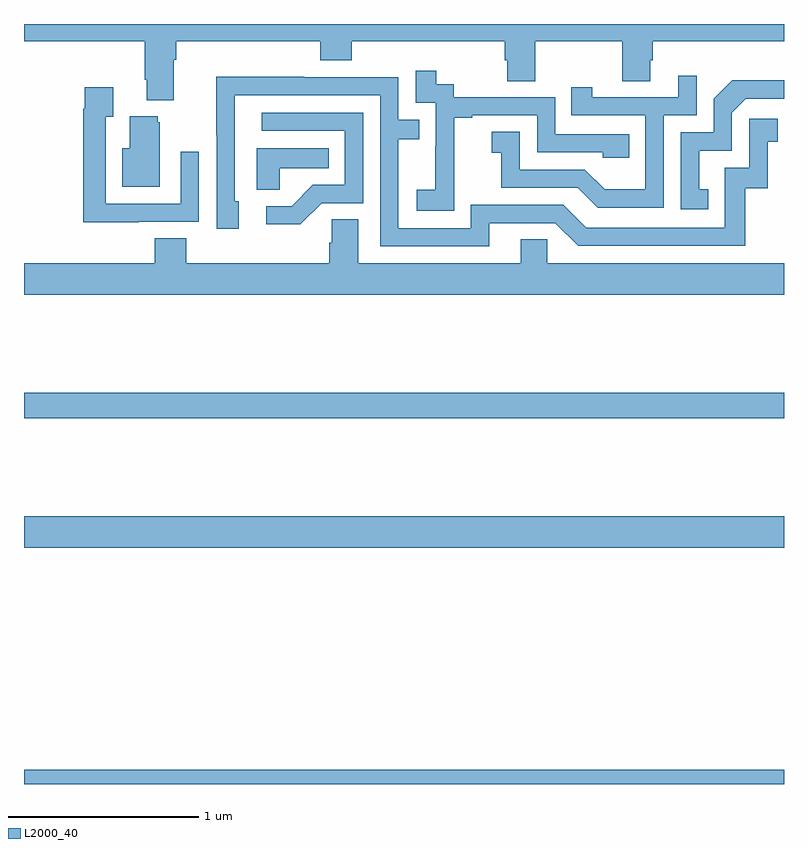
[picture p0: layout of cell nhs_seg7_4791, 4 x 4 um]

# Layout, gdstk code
import gdstk
lib = gdstk.Library(unit=1e-6, precision=1e-09)
def R(c, l, rs):  # rectangles x0, y0, x1, y1
    for r in rs: c.add(gdstk.rectangle(r[:2], r[2:], *l))
def P(c, l, *ps):  # polygons
    for p in ps: c.add(gdstk.Polygon(p, *l))
L2000_40 = (2000, 40)

nhs_seg7_4791 = lib.new_cell('nhs_seg7_4791')
R(nhs_seg7_4791, L2000_40, [(411,1038,415,1038.076), (411,1039.244,415,1039.408), (411,1039.924,415,1040.06)])
P(nhs_seg7_4791, L2000_40, [(411.787,1041.812),(411.8,1041.812),(411.8,1041.908),(412.559,1041.908),(412.559,1041.809),(412.724,1041.809),(412.724,1041.908),(413.531,1041.908),(413.531,1041.81),(413.543,1041.81),(413.543,1041.7),(413.691,1041.7),(413.691,1041.908),(414.148,1041.908),(414.148,1041.7),(414.295,1041.7),(414.295,1041.81),(414.308,1041.81),(414.308,1041.908),(415,1041.908),(415,1042),(411,1042),(411,1041.908),(411.635,1041.908),(411.635,1041.706),(411.647,1041.706),(411.647,1041.599),(411.787,1041.599)],
  [(413.265,1041.223),(413.264,1041.223),(413.264,1041.507),(413.359,1041.507),(413.359,1041.519),(413.7,1041.519),(413.7,1041.324),(414.045,1041.324),(414.045,1041.297),(414.185,1041.297),(414.185,1041.42),(413.796,1041.42),(413.796,1041.615),(413.262,1041.615),(413.262,1041.684),(413.17,1041.684),(413.17,1041.754),(413.061,1041.754),(413.061,1041.585),(413.166,1041.585),(413.166,1041.356),(413.165,1041.356),(413.165,1041.127),(413.067,1041.127),(413.067,1041.017),(413.265,1041.017)],
  [(414.366,1041.519),(414.54,1041.519),(414.54,1041.727),(414.443,1041.727),(414.443,1041.615),(413.992,1041.615),(413.992,1041.667),(413.881,1041.667),(413.881,1041.519),(414.27,1041.519),(414.27,1041.13),(414.056,1041.13),(413.952,1041.234),(413.61,1041.234),(413.61,1041.433),(413.463,1041.433),(413.463,1041.323),(413.512,1041.323),(413.512,1041.138),(413.915,1041.138),(414.02,1041.033),(414.366,1041.033)],
  [(413.449,1040.952),(413.796,1040.952),(413.916,1040.832),(414.796,1040.832),(414.796,1041.135),(414.914,1041.135),(414.914,1041.381),(414.967,1041.381),(414.967,1041.502),(414.816,1041.502),(414.816,1041.243),(414.687,1041.243),(414.687,1040.928),(413.958,1040.928),(413.838,1041.048),(413.352,1041.048),(413.352,1040.925),(412.971,1040.925),(412.971,1041.394),(413.081,1041.394),(413.081,1041.495),(412.971,1041.495),(412.971,1041.72),(412.475,1041.72),(412.475,1041.722),(412.012,1041.722),(412.012,1041.415),(412.014,1041.415),(412.014,1040.922),(412.129,1040.922),(412.129,1041.066),(412.11,1041.066),(412.11,1041.624),(412.875,1041.624),(412.875,1040.829),(413.449,1040.829)],
  [(414.602,1041.129),(414.553,1041.129),(414.553,1041.333),(414.726,1041.333),(414.726,1041.534),(414.798,1041.606),(415,1041.606),(415,1041.704),(414.728,1041.704),(414.63,1041.606),(414.63,1041.429),(414.456,1041.429),(414.456,1041.024),(414.602,1041.024)],
  [(411.605,1040.958),(411.921,1040.958),(411.921,1041.328),(411.825,1041.328),(411.825,1041.054),(411.429,1041.054),(411.429,1041.511),(411.469,1041.511),(411.469,1041.667),(411.321,1041.667),(411.321,1041.554),(411.313,1041.554),(411.313,1040.957),(411.605,1040.957)],
  [(412.566,1041.057),(412.785,1041.057),(412.785,1041.534),(412.251,1041.534),(412.251,1041.438),(412.689,1041.438),(412.689,1041.153),(412.52,1041.153),(412.409,1041.042),(412.275,1041.042),(412.275,1040.945),(412.453,1040.945)],
  [(411.715,1041.483),(411.704,1041.483),(411.704,1041.514),(411.557,1041.514),(411.557,1041.346),(411.518,1041.346),(411.518,1041.143),(411.715,1041.143)],
  [(412.347,1041.242),(412.604,1041.242),(412.604,1041.346),(412.226,1041.346),(412.226,1041.127),(412.347,1041.127)],
  [(415,1040.74),(413.754,1040.74),(413.754,1040.867),(413.615,1040.867),(413.615,1040.74),(412.759,1040.74),(412.759,1040.972),(412.62,1040.972),(412.62,1040.849),(412.607,1040.849),(412.607,1040.74),(411.854,1040.74),(411.854,1040.873),(411.689,1040.873),(411.689,1040.74),(411,1040.74),(411,1040.576),(415,1040.576)])

lib.write_gds('nhs_seg7_4791.gds')
